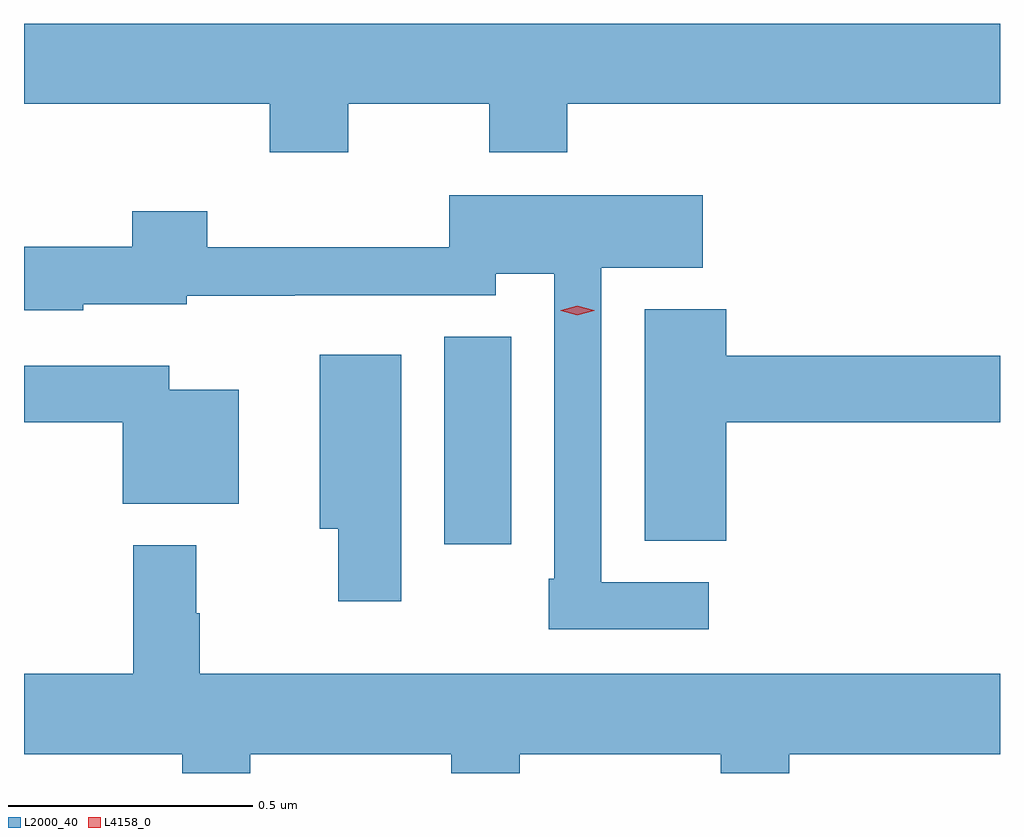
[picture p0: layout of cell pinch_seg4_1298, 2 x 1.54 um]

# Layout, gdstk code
import gdstk
lib = gdstk.Library(unit=1e-6, precision=1e-09)
def R(c, l, rs):  # rectangles x0, y0, x1, y1
    for r in rs: c.add(gdstk.rectangle(r[:2], r[2:], *l))
def P(c, l, *ps):  # polygons
    for p in ps: c.add(gdstk.Polygon(p, *l))
L2000_40 = (2000, 40)
L4158_0 = (4158, 0)

pinch_seg4_1298 = lib.new_cell('pinch_seg4_1298')
R(pinch_seg4_1298, L2000_40, [(221.738,759.954,221.875,760.379)])
P(pinch_seg4_1298, L2000_40, [(221.541,760.856),(221.83,760.856),(221.83,760.757),(221.99,760.757),(221.99,760.856),(222.877,760.856),(222.877,761.02),(220.877,761.02),(220.877,760.856),(221.381,760.856),(221.381,760.757),(221.541,760.757)],
  [(222.28,759.876),(222.06,759.876),(222.06,760.52),(222.268,760.52),(222.268,760.669),(221.748,760.669),(221.748,760.562),(221.252,760.562),(221.252,760.636),(221.099,760.636),(221.099,760.563),(220.877,760.563),(220.877,760.433),(220.998,760.433),(220.998,760.446),(221.211,760.446),(221.211,760.463),(221.432,760.463),(221.432,760.464),(221.844,760.464),(221.844,760.508),(221.964,760.508),(221.964,759.883),(221.952,759.883),(221.952,759.78),(222.28,759.78)],
  [(222.316,760.204),(222.877,760.204),(222.877,760.34),(222.316,760.34),(222.316,760.435),(222.149,760.435),(222.149,759.961),(222.316,759.961)],
  [(221.65,760.342),(221.483,760.342),(221.483,759.986),(221.521,759.986),(221.521,759.837),(221.65,759.837)],
  [(221.317,760.27),(221.175,760.27),(221.175,760.32),(220.877,760.32),(220.877,760.204),(221.079,760.204),(221.079,760.037),(221.317,760.037)],
  [(221.341,759.524),(221.753,759.524),(221.753,759.485),(221.893,759.485),(221.893,759.524),(222.305,759.524),(222.305,759.485),(222.445,759.485),(222.445,759.524),(222.877,759.524),(222.877,759.688),(221.237,759.688),(221.237,759.812),(221.23,759.812),(221.23,759.952),(221.101,759.952),(221.101,759.688),(220.877,759.688),(220.877,759.524),(221.201,759.524),(221.201,759.485),(221.341,759.485)])
P(pinch_seg4_1298, L4158_0, [(222.011,760.423),(221.977,760.432),(221.977,760.433),(221.977,760.433),(222.011,760.443),(222.046,760.433),(222.046,760.433),(222.046,760.432)])

lib.write_gds('pinch_seg4_1298.gds')
